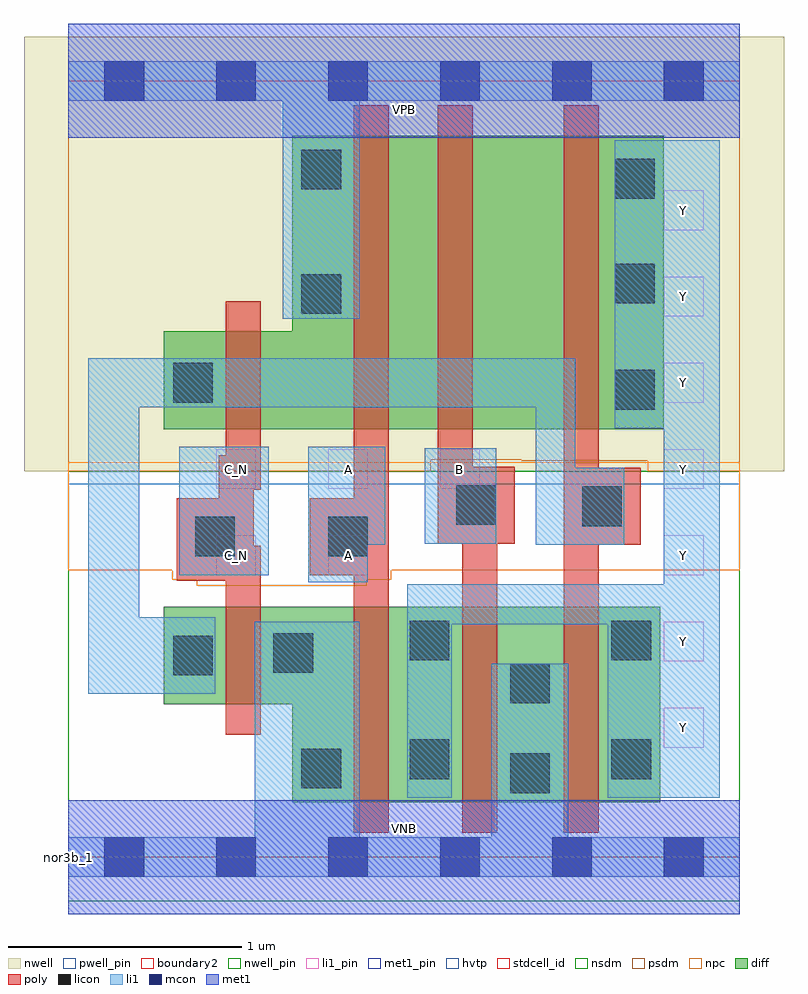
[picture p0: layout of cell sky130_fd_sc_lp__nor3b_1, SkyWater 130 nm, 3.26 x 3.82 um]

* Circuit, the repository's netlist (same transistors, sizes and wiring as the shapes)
* Copyright 2020 The SkyWater PDK Authors
*
* Licensed under the Apache License, Version 2.0 (the "License");
* you may not use this file except in compliance with the License.
* You may obtain a copy of the License at
*
*     https://www.apache.org/licenses/LICENSE-2.0
*
* Unless required by applicable law or agreed to in writing, software
* distributed under the License is distributed on an "AS IS" BASIS,
* WITHOUT WARRANTIES OR CONDITIONS OF ANY KIND, either express or implied.
* See the License for the specific language governing permissions and
* limitations under the License.
*
* SPDX-License-Identifier: Apache-2.0

.SUBCKT sky130_fd_sc_lp__nor3b_1 A B C_N VGND VNB VPB VPWR Y
*.PININFO A:I B:I C_N:I VGND:I VNB:I VPB:I VPWR:I Y:O
MMP0 VPWR A sndPA VPB sky130_fd_pr__pfet_01v8_hvt m=1 w=1.26U l=0.15U mult=1 sa=0.265
+ sb=0.265 sd=0.28 area=0.063 perim=1.14
MMP1 sndPA B sndPB VPB sky130_fd_pr__pfet_01v8_hvt m=1 w=1.26U l=0.15U mult=1 sa=0.265
+ sb=0.265 sd=0.28 area=0.063 perim=1.14
MMP2 sndPB C Y VPB sky130_fd_pr__pfet_01v8_hvt m=1 w=1.26U l=0.15U mult=1 sa=0.265
+ sb=0.265 sd=0.28 area=0.063 perim=1.14
MMIP2 C C_N VPWR VPB sky130_fd_pr__pfet_01v8_hvt m=1 w=0.42U l=0.15U mult=1 sa=0.265
+ sb=0.265 sd=0.28 area=0.063 perim=1.14
MMN0 Y A VGND VNB sky130_fd_pr__nfet_01v8 m=1 w=0.84U l=0.15U mult=1 sa=0.265 sb=0.265
+ sd=0.28 area=0.063 perim=1.14
MMN1 Y B VGND VNB sky130_fd_pr__nfet_01v8 m=1 w=0.84U l=0.15U mult=1 sa=0.265 sb=0.265
+ sd=0.28 area=0.063 perim=1.14
MMN2 Y C VGND VNB sky130_fd_pr__nfet_01v8 m=1 w=0.84U l=0.15U mult=1 sa=0.265 sb=0.265
+ sd=0.28 area=0.063 perim=1.14
MMIN2 C C_N VGND VNB sky130_fd_pr__nfet_01v8 m=1 w=0.42U l=0.15U mult=1 sa=0.265
+ sb=0.265 sd=0.28 area=0.063 perim=1.14
.ENDS sky130_fd_sc_lp__nor3b_1

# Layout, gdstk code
import gdstk
lib = gdstk.Library(unit=1e-6, precision=1e-09)
def R(c, l, rs):  # rectangles x0, y0, x1, y1
    for r in rs: c.add(gdstk.rectangle(r[:2], r[2:], *l))
def A(c, l, x, y, w, h, nx, ny, dx, dy):  # array of equal rectangles
    R(c, l, [(x+i*dx, y+j*dy, x+i*dx+w, y+j*dy+h) for i in range(nx) for j in range(ny)])
def P(c, l, *ps):  # polygons
    for p in ps: c.add(gdstk.Polygon(p, *l))
nwell_pin = (64, 16)
nwell = (64, 20)
diff = (65, 20)
poly = (66, 20)
licon = (66, 44)
li1_pin = (67, 16)
li1 = (67, 20)
mcon = (67, 44)
met1_pin = (68, 16)
met1 = (68, 20)
hvtp = (78, 44)
stdcell_id = (81, 4)
nsdm = (93, 44)
psdm = (94, 20)
npc = (95, 20)
pwell_pin = (122, 16)
boundary2 = (236, 0)

sky130_fd_sc_lp__nor3b_1 = lib.new_cell('sky130_fd_sc_lp__nor3b_1')
R(sky130_fd_sc_lp__nor3b_1, nwell_pin, [(0,3.085,2.88,3.33)])
R(sky130_fd_sc_lp__nor3b_1, nwell, [(-0.19,1.655,3.07,3.52)])
P(sky130_fd_sc_lp__nor3b_1, diff, [(2.54,1.075),(0.41,1.075),(0.41,0.655),(0.96,0.655),(0.96,0.235),(2.54,0.235)],
  [(2.555,3.095),(0.96,3.095),(0.96,2.255),(0.41,2.255),(0.41,1.835),(2.555,1.835)])
P(sky130_fd_sc_lp__nor3b_1, poly, [(0.825,1.335),(0.795,1.335),(0.795,1.575),(0.825,1.575),(0.825,2.385),(0.675,2.385),(0.675,1.725),(0.645,1.725),(0.645,1.54),(0.465,1.54),(0.465,1.185),(0.675,1.185),(0.675,0.525),(0.825,0.525)],
  [(1.375,3.225),(1.225,3.225),(1.225,1.54),(1.035,1.54),(1.035,1.21),(1.225,1.21),(1.225,0.105),(1.375,0.105)],
  [(1.915,1.675),(1.735,1.675),(1.735,3.225),(1.585,3.225),(1.585,1.345),(1.69,1.345),(1.69,0.105),(1.84,0.105),(1.84,1.345),(1.915,1.345)],
  [(2.455,1.67),(2.275,1.67),(2.275,3.225),(2.125,3.225),(2.125,0.105),(2.275,0.105),(2.275,1.34),(2.455,1.34)])
R(sky130_fd_sc_lp__nor3b_1, licon, [(1.895,0.275,2.065,0.445), (1,0.295,1.17,0.465), (1.465,0.335,1.635,0.505), (2.33,0.335,2.5,0.505), (1.895,0.66,2.065,0.83), (0.45,0.78,0.62,0.95), (0.88,0.79,1.05,0.96), (1.465,0.845,1.635,1.015), (2.33,0.845,2.5,1.015), (0.545,1.29,0.715,1.46), (1.115,1.29,1.285,1.46), (2.205,1.42,2.375,1.59), (1.665,1.425,1.835,1.595), (2.345,1.92,2.515,2.09), (0.45,1.95,0.62,2.12), (1,2.33,1.17,2.5), (2.345,2.375,2.515,2.545), (2.345,2.825,2.515,2.995), (1,2.865,1.17,3.035)])
A(sky130_fd_sc_lp__nor3b_1, li1_pin, 2.555, 0.47, 0.17, 0.17, 1, 7, 0, 0.37)
A(sky130_fd_sc_lp__nor3b_1, li1_pin, 0.635, 1.58, 0.17, 0.17, 3, 1, 0.48, 0)
R(sky130_fd_sc_lp__nor3b_1, li1_pin, [(0.635,1.21,0.805,1.38), (1.115,1.21,1.285,1.38)])
R(sky130_fd_sc_lp__nor3b_1, li1, [(0.475,1.21,0.86,1.76), (1.53,1.345,1.835,1.755)])
P(sky130_fd_sc_lp__nor3b_1, li1, [(0.92,2.31),(0.92,3.245),(0,3.245),(0,3.415),(2.88,3.415),(2.88,3.245),(1.25,3.245),(1.25,2.31)],
  [(1.815,0.085),(1.815,0.83),(2.145,0.83),(2.145,0.085),(2.88,0.085),(2.88,-0.085),(0,-0.085),(0,0.085),(0.8,0.085),(0.8,1.01),(1.25,1.01),(1.25,0.085)],
  [(1.36,1.76),(1.03,1.76),(1.03,1.18),(1.285,1.18),(1.285,1.34),(1.36,1.34)],
  [(2.555,1.17),(2.555,1.84),(2.345,1.84),(2.345,3.075),(2.795,3.075),(2.795,0.255),(2.315,0.255),(2.315,1),(1.645,1),(1.645,0.255),(1.455,0.255),(1.455,1.17)],
  [(0.085,2.14),(2.175,2.14),(2.175,1.67),(2.385,1.67),(2.385,1.34),(2.005,1.34),(2.005,1.93),(0.305,1.93),(0.305,1.03),(0.63,1.03),(0.63,0.7),(0.085,0.7)])
A(sky130_fd_sc_lp__nor3b_1, mcon, 0.155, -0.085, 0.17, 0.17, 6, 2, 0.48, 3.33)
R(sky130_fd_sc_lp__nor3b_1, met1_pin, [(0,0,2.88,0.245), (0,3.085,2.88,3.33)])
R(sky130_fd_sc_lp__nor3b_1, met1, [(0,-0.245,2.88,0.245), (0,3.085,2.88,3.575)])
R(sky130_fd_sc_lp__nor3b_1, hvtp, [(0,1.6,2.88,3.33)])
R(sky130_fd_sc_lp__nor3b_1, stdcell_id, [(0,0,2.88,3.33)])
R(sky130_fd_sc_lp__nor3b_1, nsdm, [(0,-0.19,2.88,1.655)])
P(sky130_fd_sc_lp__nor3b_1, psdm, [(2.88,3.52),(0,3.52),(0,1.655),(1.555,1.655),(1.555,1.705),(1.945,1.705),(1.945,1.7),(2.485,1.7),(2.485,1.655),(2.88,1.655)])
P(sky130_fd_sc_lp__nor3b_1, npc, [(2.88,1.695),(0,1.695),(0,1.23),(0.445,1.23),(0.445,1.19),(0.55,1.19),(0.55,1.165),(1.28,1.165),(1.28,1.19),(1.385,1.19),(1.385,1.23),(2.88,1.23)])
R(sky130_fd_sc_lp__nor3b_1, pwell_pin, [(0,0,2.88,0.245)])
R(sky130_fd_sc_lp__nor3b_1, boundary2, [(0,0,2.88,3.33)])
sky130_fd_sc_lp__nor3b_1.add(gdstk.Label('VNB', (1.44,0.123), layer=64, texttype=59))
sky130_fd_sc_lp__nor3b_1.add(gdstk.Label('VPB', (1.44,3.208), layer=64, texttype=5))
sky130_fd_sc_lp__nor3b_1.add(gdstk.Label('nor3b_1', (0,0), layer=83, texttype=44))
sky130_fd_sc_lp__nor3b_1.add(gdstk.Label('VPWR', (1.44,3.208), layer=68, texttype=5))
sky130_fd_sc_lp__nor3b_1.add(gdstk.Label('VGND', (1.44,0.123), layer=68, texttype=5))
sky130_fd_sc_lp__nor3b_1.add(gdstk.Label('A', (1.2,1.295), layer=67, texttype=5))
sky130_fd_sc_lp__nor3b_1.add(gdstk.Label('A', (1.2,1.665), layer=67, texttype=5))
sky130_fd_sc_lp__nor3b_1.add(gdstk.Label('B', (1.68,1.665), layer=67, texttype=5))
sky130_fd_sc_lp__nor3b_1.add(gdstk.Label('C_N', (0.72,1.295), layer=67, texttype=5))
sky130_fd_sc_lp__nor3b_1.add(gdstk.Label('C_N', (0.72,1.665), layer=67, texttype=5))
sky130_fd_sc_lp__nor3b_1.add(gdstk.Label('Y', (2.64,0.555), layer=67, texttype=5))
sky130_fd_sc_lp__nor3b_1.add(gdstk.Label('Y', (2.64,0.925), layer=67, texttype=5))
sky130_fd_sc_lp__nor3b_1.add(gdstk.Label('Y', (2.64,1.295), layer=67, texttype=5))
sky130_fd_sc_lp__nor3b_1.add(gdstk.Label('Y', (2.64,1.665), layer=67, texttype=5))
sky130_fd_sc_lp__nor3b_1.add(gdstk.Label('Y', (2.64,2.035), layer=67, texttype=5))
sky130_fd_sc_lp__nor3b_1.add(gdstk.Label('Y', (2.64,2.405), layer=67, texttype=5))
sky130_fd_sc_lp__nor3b_1.add(gdstk.Label('Y', (2.64,2.775), layer=67, texttype=5))

lib.write_gds('sky130_fd_sc_lp__nor3b_1.gds')
